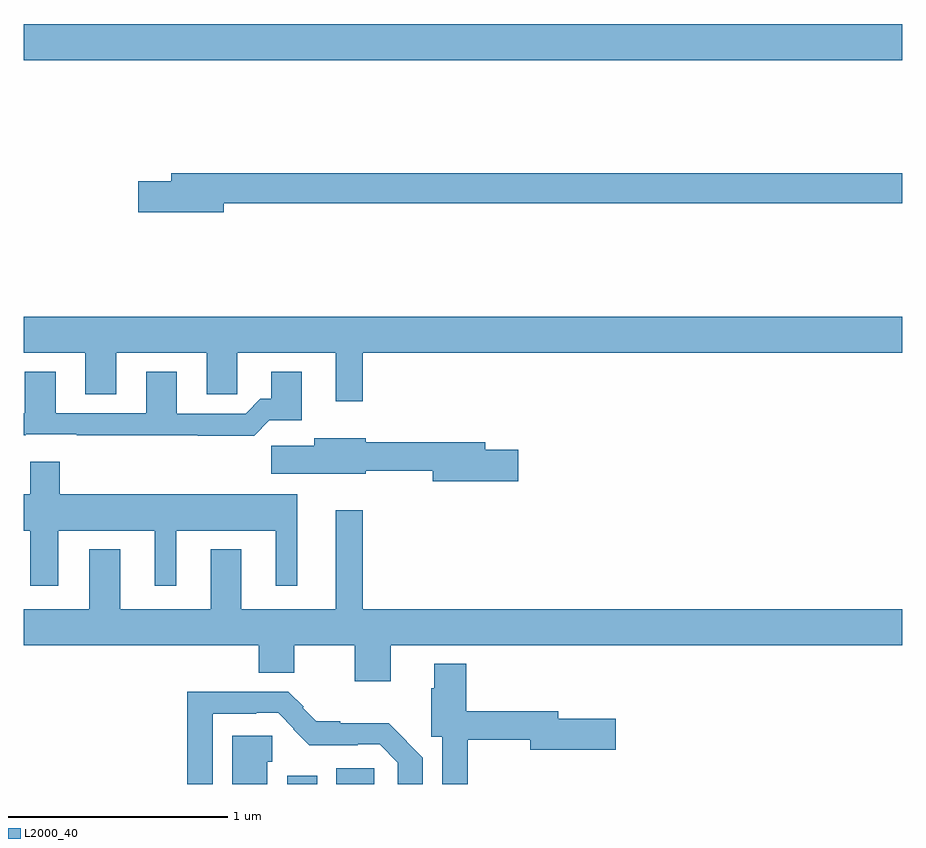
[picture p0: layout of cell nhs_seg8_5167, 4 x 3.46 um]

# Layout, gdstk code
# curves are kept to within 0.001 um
import gdstk
lib = gdstk.Library(unit=1e-6, precision=1e-09)
def R(c, l, rs):  # rectangles x0, y0, x1, y1
    for r in rs: c.add(gdstk.rectangle(r[:2], r[2:], *l))
def P(c, l, *ps):  # polygons
    for p in ps: c.add(gdstk.Polygon(p, *l))
L2000_40 = (2000, 40)

nhs_seg8_5167 = lib.new_cell('nhs_seg8_5167')
R(nhs_seg8_5167, L2000_40, [(424.199,1083.9,424.336,1083.937), (424.424,1083.9,424.596,1083.972), (423,1087.196,427,1087.36)])
P(nhs_seg8_5167, L2000_40, [(423.91,1086.544),(427,1086.544),(427,1086.68),(423.671,1086.68),(423.671,1086.644),(423.522,1086.644),(423.522,1086.502),(423.91,1086.502)],
  [(424.543,1085.864),(427,1085.864),(427,1086.028),(423,1086.028),(423,1085.864),(423.281,1085.864),(423.281,1085.674),(423.421,1085.674),(423.421,1085.864),(423.833,1085.864),(423.833,1085.674),(423.972,1085.674),(423.972,1085.864),(424.421,1085.864),(424.421,1085.643),(424.543,1085.643)],
  [(424.118,1085.555),(424.267,1085.555),(424.267,1085.776),(424.127,1085.776),(424.127,1085.653),(424.078,1085.653),(424.011,1085.586),(423.697,1085.586),(423.697,1085.776),(423.557,1085.776),(423.557,1085.589),(423.145,1085.589),(423.145,1085.776),(423.005,1085.776),(423.005,1085.589),(423,1085.589),(423,1085.488),(423.009,1085.488),(423.009,1085.493),(423.241,1085.493),(423.241,1085.488),(423.793,1085.488),(423.793,1085.486),(424.049,1085.486)],
  [(425.251,1085.421),(425.101,1085.421),(425.101,1085.455),(424.558,1085.455),(424.558,1085.473),(424.322,1085.473),(424.322,1085.441),(424.128,1085.441),(424.128,1085.312),(424.558,1085.312),(424.558,1085.326),(424.862,1085.326),(424.862,1085.279),(425.251,1085.279)],
  [(423.157,1085.054),(423.596,1085.054),(423.596,1084.803),(423.694,1084.803),(423.694,1085.054),(424.148,1085.054),(424.148,1084.803),(424.246,1084.803),(424.246,1085.218),(423.164,1085.218),(423.164,1085.368),(423.029,1085.368),(423.029,1085.218),(423,1085.218),(423,1085.054),(423.029,1085.054),(423.029,1084.803),(423.157,1084.803)],
  [(424.672,1084.532),(427,1084.532),(427,1084.696),(424.543,1084.696),(424.543,1085.146),(424.421,1085.146),(424.421,1084.696),(423.991,1084.696),(423.991,1084.969),(423.851,1084.969),(423.851,1084.696),(423.439,1084.696),(423.439,1084.969),(423.299,1084.969),(423.299,1084.696),(423,1084.696),(423,1084.532),(424.07,1084.532),(424.07,1084.406),(424.231,1084.406),(424.231,1084.532),(424.508,1084.532),(424.508,1084.368),(424.672,1084.368)],
  [(425.021,1084.102),(425.306,1084.102),(425.306,1084.055),(425.695,1084.055),(425.695,1084.197),(425.434,1084.197),(425.434,1084.231),(425.015,1084.231),(425.015,1084.447),(424.868,1084.447),(424.868,1084.337),(424.856,1084.337),(424.856,1084.116),(424.905,1084.116),(424.905,1083.9),(425.021,1083.9)],
  [(423.861,1084.22),(424.058,1084.22),(424.058,1084.224),(424.158,1084.224),(424.23,1084.152),(424.227,1084.149),(424.301,1084.076),(424.52,1084.076),(424.52,1084.08),(424.62,1084.08),(424.704,1083.996),(424.704,1083.9),(424.816,1083.9),(424.816,1084.02),(424.661,1084.177),(424.441,1084.177),(424.441,1084.185),(424.333,1084.185),(424.271,1084.247),(424.275,1084.251),(424.205,1084.321),(423.745,1084.321),(423.745,1083.9),(423.861,1083.9)],
  [(424.108,1084.002),(424.131,1084.002),(424.131,1084.119),(423.95,1084.119),(423.95,1083.9),(424.108,1083.9)])

lib.write_gds('nhs_seg8_5167.gds')
